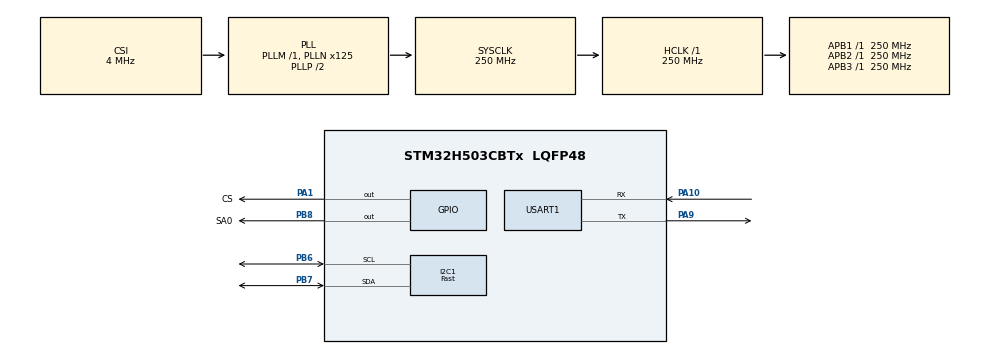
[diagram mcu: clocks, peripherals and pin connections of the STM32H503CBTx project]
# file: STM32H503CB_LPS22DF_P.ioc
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BOOTPATH.BootPathName=LEGACY
BOOTPATH.UserSelectedBootPath=LEGACY
I2C1.I2C_Speed_Mode=I2C_Fast
I2C1.Timing=0x10C043E5
Mcu.Family=STM32H5
Mcu.Name=STM32H503CBTx
Mcu.Package=LQFP48
NVIC.PriorityGroup=NVIC_PRIORITYGROUP_4
PA1.GPIO_Label=CS
PA1.Signal=GPIO_Output
PA10.Mode=Asynchronous
PA10.Signal=USART1_RX
PA9.Mode=Asynchronous
PA9.Signal=USART1_TX
PB6.Mode=I2C
PB6.Signal=I2C1_SCL
PB7.Mode=I2C
PB7.Signal=I2C1_SDA
PB8.GPIO_Label=SA0
PB8.Signal=GPIO_Output
ProjectManager.HeapSize=0x2000
ProjectManager.StackSize=0x4000
ProjectManager.TargetToolchain=MDK-ARM V5.37
RCC.ADCFreq_Value=250000000
RCC.AHBFreq_Value=250000000
RCC.APB1Freq_Value=250000000
RCC.APB1TimFreq_Value=250000000
RCC.APB2Freq_Value=250000000
RCC.APB2TimFreq_Value=250000000
RCC.APB3Freq_Value=250000000
RCC.CSI_VALUE=4000000
RCC.CortexFreq_Value=250000000
RCC.EPOD_VALUE=4000000
RCC.HCLKFreq_Value=250000000
RCC.HSE_VALUE=25000000
RCC.HSI48_VALUE=48000000
RCC.HSI_VALUE=64000000
RCC.LSE_VALUE=32768
RCC.LSIRC_VALUE=32000
RCC.PLL2FRACN=0
RCC.PLLFRACN=0
RCC.PLLN=125
RCC.SYSCLKFreq_VALUE=250000000
RCC.SYSCLKSource=RCC_SYSCLKSOURCE_PLLCLK
RCC.USBFreq_Value=48000000
RCC.VCOOutputFreq_Value=500000000
USART1.VirtualMode-Asynchronous=VM_ASYNC
VP_BOOTPATH_VS_BOOTPATH.Mode=BP_Activate
VP_CORTEX_M33_NS_VS_Hclk.Mode=Hclk_Mode
VP_ICACHE_VS_ICACHE.Mode=DirectMappedCache
VP_MEMORYMAP_VS_MEMORYMAP.Mode=CurAppReg
VP_PWR_VS_DBSignals.Mode=DisableDeadBatterySignals
VP_PWR_VS_LPOM.Mode=PowerOptimisation
VP_PWR_VS_SECSignals.Mode=Security/Privilege
board=custom

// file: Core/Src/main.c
/* USER CODE BEGIN Header */
/**
  ******************************************************************************
  * @file           : main.c
  * @brief          : Main program body
  ******************************************************************************
  * @attention
  *
  * Copyright (c) 2024 STMicroelectronics.
  * All rights reserved.
  *
  * This software is licensed under terms that can be found in the LICENSE file
  * in the root directory of this software component.
  * If no LICENSE file comes with this software, it is provided AS-IS.
  *
  ******************************************************************************
  */
/* USER CODE END Header */
#include "main.h"
#include "i2c.h"
#include "icache.h"
#include "usart.h"
#include "gpio.h"

/* USER CODE BEGIN Includes */
#include "stdio.h"
#include "lps22df_reg.h"
/* USER CODE END Includes */

void SystemClock_Config(void);
/* USER CODE BEGIN PFP */

#define SENSOR_BUS hi2c1

int fputc(int ch, FILE *f){
	HAL_UART_Transmit(&huart1 , (uint8_t *)&ch, 1, 0xFFFF);
	return ch;
}
/* USER CODE END PFP */

/* USER CODE BEGIN 0 */
/* Private macro -------------------------------------------------------------*/

/* Private variables ---------------------------------------------------------*/
static uint8_t tx_buffer[1000];
static lps22df_data_t data;

/* Extern variables ----------------------------------------------------------*/

/* Private functions ---------------------------------------------------------*/
/*
 *   WARNING:
 *   Functions declare in this section are defined at the end of this file
 *   and are strictly related to the hardware platform used.
 *
 */
static int32_t platform_write(void *handle, uint8_t reg, const uint8_t *bufp,
                              uint16_t len);
static int32_t platform_read(void *handle, uint8_t reg, uint8_t *bufp,
                             uint16_t len);
static void tx_com( uint8_t *tx_buffer, uint16_t len );
static void platform_delay(uint32_t ms);
static void platform_init(void);
/* USER CODE END 0 */

int main(void)
{

  /* MCU Configuration--------------------------------------------------------*/

  /* Reset of all peripherals, Initializes the Flash interface and the Systick. */
  HAL_Init();

  /* Configure the system clock */
  SystemClock_Config();

  /* Initialize all configured peripherals */
  MX_GPIO_Init();
  MX_I2C1_Init();
  MX_USART1_UART_Init();
  MX_ICACHE_Init();
  /* USER CODE BEGIN 2 */
	HAL_GPIO_WritePin(CS_GPIO_Port, CS_Pin, GPIO_PIN_SET);
	HAL_GPIO_WritePin(SA0_GPIO_Port, SA0_Pin, GPIO_PIN_RESET);	//GPIO_PIN_RESET

	printf("hello!\n");

  lps22df_pin_int_route_t int_route;
  lps22df_all_sources_t all_sources;
  lps22df_bus_mode_t bus_mode;
  stmdev_ctx_t dev_ctx;
  lps22df_id_t id;
  lps22df_md_t md;
  int ret;

  /* Initialize mems driver interface */
  dev_ctx.write_reg = platform_write;
  dev_ctx.read_reg = platform_read;
  dev_ctx.mdelay = platform_delay;
  dev_ctx.handle = &SENSOR_BUS;

  /* Initialize platform specific hardware */
//  platform_init();

  /* Check device ID */
  lps22df_id_get(&dev_ctx, &id);
	printf("LPS22DF_ID=0x%x,whoamI=0x%x\n",LPS22DF_ID,id.whoami);
  if (id.whoami != LPS22DF_ID)
    while(1);

  /* Boot device */
  ret = lps22df_init_set(&dev_ctx, LPS22DF_BOOT);
  if (ret != 0)
    while(1);

  /* Reset device */
  ret = lps22df_init_set(&dev_ctx, LPS22DF_RESET);
  if (ret != 0)
    while(1);

  /* Set bdu and if_inc recommended for driver usage */
  lps22df_init_set(&dev_ctx, LPS22DF_DRV_RDY);

  /* Select bus interface */
  bus_mode.filter = LPS22DF_FILTER_AUTO;
  bus_mode.interface = LPS22DF_SEL_BY_HW;
  lps22df_bus_mode_set(&dev_ctx, &bus_mode);

  /* Set Output Data Rate */
  md.odr = LPS22DF_4Hz;
  md.avg = LPS22DF_16_AVG;
  md.lpf = LPS22DF_LPF_ODR_DIV_4;
  lps22df_mode_set(&dev_ctx, &md);

  /* Configure inerrupt pins */
  lps22df_pin_int_route_get(&dev_ctx, &int_route);
  int_route.drdy_pres   = PROPERTY_DISABLE;
  lps22df_pin_int_route_set(&dev_ctx, &int_route);

  /* USER CODE END 2 */

  /* Infinite loop */
  /* USER CODE BEGIN WHILE */
  while (1)
  {

    /* Read output only if new values are available */
    lps22df_all_sources_get(&dev_ctx, &all_sources);
    if ( all_sources.drdy_pres | all_sources.drdy_temp ) {
      lps22df_data_get(&dev_ctx, &data);
      printf("pressure [hPa]:%6.2f temperature [degC]:%6.2f\r\n",
              data.pressure.hpa, data.heat.deg_c);

    }

    /* USER CODE END WHILE */

  }
}

void SystemClock_Config(void)
{
  RCC_OscInitTypeDef RCC_OscInitStruct = {0};
  RCC_ClkInitTypeDef RCC_ClkInitStruct = {0};

  /** Configure the main internal regulator output voltage
  */
  __HAL_PWR_VOLTAGESCALING_CONFIG(PWR_REGULATOR_VOLTAGE_SCALE0);

  while(!__HAL_PWR_GET_FLAG(PWR_FLAG_VOSRDY)) {}

  /** Initializes the RCC Oscillators according to the specified parameters
  * in the RCC_OscInitTypeDef structure.
  */
  RCC_OscInitStruct.OscillatorType = RCC_OSCILLATORTYPE_CSI;
  RCC_OscInitStruct.CSIState = RCC_CSI_ON;
  RCC_OscInitStruct.CSICalibrationValue = RCC_CSICALIBRATION_DEFAULT;
  RCC_OscInitStruct.PLL.PLLState = RCC_PLL_ON;
  RCC_OscInitStruct.PLL.PLLSource = RCC_PLL1_SOURCE_CSI;
  RCC_OscInitStruct.PLL.PLLM = 1;
  RCC_OscInitStruct.PLL.PLLN = 125;
  RCC_OscInitStruct.PLL.PLLP = 2;
  RCC_OscInitStruct.PLL.PLLQ = 2;
  RCC_OscInitStruct.PLL.PLLR = 2;
  RCC_OscInitStruct.PLL.PLLRGE = RCC_PLL1_VCIRANGE_2;
  RCC_OscInitStruct.PLL.PLLVCOSEL = RCC_PLL1_VCORANGE_WIDE;
  RCC_OscInitStruct.PLL.PLLFRACN = 0;
  if (HAL_RCC_OscConfig(&RCC_OscInitStruct) != HAL_OK)
  {
    Error_Handler();
  }

  /** Initializes the CPU, AHB and APB buses clocks
  */
  RCC_ClkInitStruct.ClockType = RCC_CLOCKTYPE_HCLK|RCC_CLOCKTYPE_SYSCLK
                              |RCC_CLOCKTYPE_PCLK1|RCC_CLOCKTYPE_PCLK2
                              |RCC_CLOCKTYPE_PCLK3;
  RCC_ClkInitStruct.SYSCLKSource = RCC_SYSCLKSOURCE_PLLCLK;
  RCC_ClkInitStruct.AHBCLKDivider = RCC_SYSCLK_DIV1;
  RCC_ClkInitStruct.APB1CLKDivider = RCC_HCLK_DIV1;
  RCC_ClkInitStruct.APB2CLKDivider = RCC_HCLK_DIV1;
  RCC_ClkInitStruct.APB3CLKDivider = RCC_HCLK_DIV1;

  if (HAL_RCC_ClockConfig(&RCC_ClkInitStruct, FLASH_LATENCY_5) != HAL_OK)
  {
    Error_Handler();
  }

  /** Configure the programming delay
  */
  __HAL_FLASH_SET_PROGRAM_DELAY(FLASH_PROGRAMMING_DELAY_2);
}

/* USER CODE BEGIN 4 */
/*
 * @brief  Write generic device register (platform dependent)
 *
 * @param  handle    customizable argument. In this examples is used in
 *                   order to select the correct sensor bus handler.
 * @param  reg       register to write
 * @param  bufp      pointer to data to write in register reg
 * @param  len       number of consecutive register to write
 *
 */
static int32_t platform_write(void *handle, uint8_t reg, const uint8_t *bufp,
                              uint16_t len)
{
  HAL_I2C_Mem_Write(handle, LPS22DF_I2C_ADD_L, reg,
                    I2C_MEMADD_SIZE_8BIT, (uint8_t*) bufp, len, 1000);

  return 0;
}

/*
 * @brief  Read generic device register (platform dependent)
 *
 * @param  handle    customizable argument. In this examples is used in
 *                   order to select the correct sensor bus handler.
 * @param  reg       register to read
 * @param  bufp      pointer to buffer that store the data read
 * @param  len       number of consecutive register to read
 *
 */
static int32_t platform_read(void *handle, uint8_t reg, uint8_t *bufp,
                             uint16_t len)
{
  HAL_I2C_Mem_Read(handle, LPS22DF_I2C_ADD_L, reg,
                   I2C_MEMADD_SIZE_8BIT, bufp, len, 1000);
  return 0;
}

/*
 * @brief  platform specific delay (platform dependent)
 *
 * @param  ms        delay in ms
 *
 */
static void platform_delay(uint32_t ms)
{
  HAL_Delay(ms);
}

/* USER CODE END 4 */

void Error_Handler(void)
{
  __disable_irq();
  while (1)
  {
  }
}
